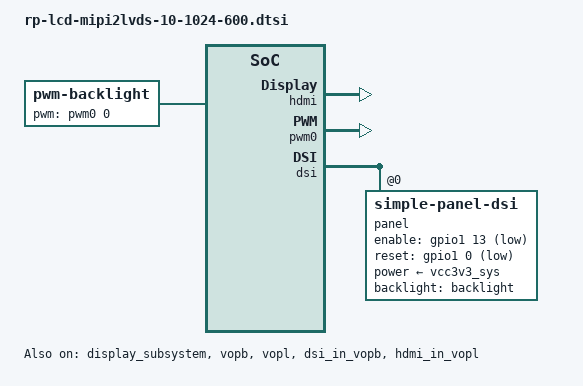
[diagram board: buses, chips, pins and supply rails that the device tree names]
/**
 * rpdzkj lcd configuration for mipi2lvds tc358775
 *
 */

/ {
	backlight: backlight {
		status = "okay";
		compatible = "pwm-backlight";
		pwms = <&pwm0 0 25000 1>;
		brightness-levels = <
			  0   1   2   3   4   5   6   7
			  8   9  10  11  12  13  14  15
			 16  17  18  19  20  21  22  23
			 24  25  26  27  28  29  30  31
			 32  33  34  35  36  37  38  39
			 40  41  42  43  44  45  46  47
			 48  49  50  51  52  53  54  55
			 56  57  58  59  60  61  62  63
			 64  65  66  67  68  69  70  71
			 72  73  74  75  76  77  78  79
			 80  81  82  83  84  85  86  87
			 88  89  90  91  92  93  94  95
			 96  97  98  99 100 101 102 103
			104 105 106 107 108 109 110 111
			112 113 114 115 116 117 118 119
			120 121 122 123 124 125 126 127
			128 129 130 131 132 133 134 135
			136 137 138 139 140 141 142 143
			144 145 146 147 148 149 150 151
			152 153 154 155 156 157 158 159
			160 161 162 163 164 165 166 167
			168 169 170 171 172 173 174 175
			176 177 178 179 180 181 182 183
			184 185 186 187 188 189 190 191
			192 193 194 195 196 197 198 199
			200 201 202 203 204 205 206 207
			208 209 210 211 212 213 214 215
			216 217 218 219 220 221 222 223
			224 225 226 227 228 229 230 231
			232 233 234 235 236 237 238 239
			240 241 242 243 244 245 246 247
			248 249 250 251 252 253 254 255>;
		default-brightness-level = <255>;
	};

        rpdzkj_config {	// linux donot use
                compatible = "rp_config";
                user_version = "rpdzkj";
                system_rotate = "0";
                back_camera_rotate = "0";
                front_camera_rotate = "0";
                lcd_density = "160";//320
                language = "zh-CN";   //zh-CN //en-US
                time_zone = "Asia/Shanghai"; //Asia/Shanghai = +8   //Europe/London  = +0
                not_navigation_bar = "false";
                not_status_bar = "false";
                //not_status_bar = "true";
                default_launcher = "true";
                //default_launcher = "false";
                has_root = "true";  //true
                //has_root = "false";  //false
                usb_not_permission = "true";  
                usb_camera_only_front = "false";
                //usb_camera_only_front = "true";
                gps_use = "false";
                gps_serial_port = "/dev/ttyS4"; //UART4
                status = "okay";
        };

};

&hdmi {
       #address-cells = <1>;
       #size-cells = <0>;
       #sound-dai-cells = <0>;
       ddc-i2c-scl-high-time-ns = <9625>;
       ddc-i2c-scl-low-time-ns = <10000>;
       status = "okay";
};


&pwm0 {
	status = "okay";
};

&display_subsystem {
        status = "okay";

        ports = <&vopb_out>, <&vopl_out>;
        logo-memory-region = <&drm_logo>;

        route {
                route_hdmi: route-hdmi {
                        status = "okay";
                        logo,uboot = "logo.bmp";
                        logo,kernel = "logo_kernel.bmp";
                        logo,mode = "fullscreen";
                        charge_logo,mode = "center";
                        connect = <&vopl_out_hdmi>;
                };

                route_dsi: route-dsi {

                        status = "okay";
                        //status = "disabled";
                        logo,uboot = "logo.bmp";
                        logo,kernel = "logo_kernel.bmp";
                        logo,mode = "center";
                        charge_logo,mode = "center";
                        connect = <&vopb_out_dsi>;
                };

                route_dsi1: route-dsi1 {
                        status = "disabled";
                        logo,uboot = "logo.bmp";
                        logo,kernel = "logo_kernel.bmp";
                        logo,mode = "fullscreen";
                        charge_logo,mode = "center";
                        connect = <&vopl_out_dsi1>;
                };

                route_edp: route-edp {
                        status = "disabled";
                        logo,uboot = "logo.bmp";
                        logo,kernel = "logo_kernel.bmp";
                        logo,mode = "fullscreen";
                        charge_logo,mode = "center";
                        connect = <&vopb_out_edp>;
                };
        };
};

&dsi {
       //compatible = "rockchip,rk3399-dsi";		//no longer need that
       //reset-gpios = <&gpio1 0 GPIO_ACTIVE_LOW>;
       status = "okay";

       panel {
               compatible = "simple-panel-dsi";
               status = "okay";
               reg = <0>;
               power-supply = <&vcc3v3_sys>;
               backlight = <&backlight>;

                enable-gpios = <&gpio1 13 GPIO_ACTIVE_LOW>;     /** note that needed status in real situation, there is low */
		reset-gpios  = <&gpio1 0 GPIO_ACTIVE_LOW>; 
               dsi,flags = <(MIPI_DSI_MODE_VIDEO | MIPI_DSI_MODE_VIDEO_BURST |
                             MIPI_DSI_MODE_LPM | MIPI_DSI_MODE_EOT_PACKET)>;
               dsi,format = <MIPI_DSI_FMT_RGB888>;
               dsi,lanes = <4>;

		panel-init-sequence = [
		
			29 00 06 3c 01 0c 00 0a 00
			29 00 06 14 01 08 00 00	00
			29 00 06 64 01 0d 00 00 00
			29 00 06 68 01 0d 00 00 00
			29 00 06 6c 01 0d 00 00 00
			29 00 06 70 01 0d 00 00 00
			29 00 06 34 01 1f 00 00 00
			29 00 06 10 02 1f 00 00 00
			29 00 06 04 01 01 00 00 00
			29 00 06 04 02 01 00 00 00
			29 00 06 50 04 00 01 f0 03
			29 00 06 54 04 14 00 a0 00
			29 00 06 58 04 00 04 a0 00
			29 00 06 5c 04 03 00 17 00
			29 00 06 60 04 58 02 0c 00
			29 00 06 64 04 01 00 00 00
			29 64 06 a0 04 06 80 44 00
			29 00 06 a0 04 06 80 04 00
			29 00 06 04 05 04 00 00 00
               	  /*	data-mapping:jeida, default vesa
		       29 00 06 80 04 00 01 02 03
                       29 00 06 84 04 04 07 05 08
                       29 00 06 88 04 09 0a 0e 0f
                       29 00 06 8c 04 0b 0c 0d 10
                       29 00 06 90 04 16 17 11 12
                       29 00 06 94 04 13 14 15 1b
                       29 14 06 98 04 18 19 1a 06
               	*/
			29 78 06 9c 04 31 00 00 00
				
			
		];

		display-timings {
			native-mode = <&timing0>;

			timing0: timing0 {
				clock-frequency = <45000000>;
				hactive = <1024>;
				vactive = <600>;
				hback-porch = <160>;
				hsync-len = <20>;
				hfront-porch = <160>;
				vback-porch = <23>;
				vfront-porch = <12>;
				vsync-len = <3>;
				hsync-active = <0>;
				vsync-active = <0>;
				de-active = <0>;
				pixelclk-active = <0>;
			};
		};
	};
};

&route_dsi {
        status = "okay";
};

&vopb {
        assigned-clocks = <&cru DCLK_VOP0_DIV>;
        assigned-clock-parents = <&cru PLL_CPLL>;
        //assigned-clock-parents = <&cru PLL_VPLL>;
        status = "okay";
};

&vopb_mmu {
        status = "okay";
};

&vopl {
        assigned-clocks = <&cru DCLK_VOP1_DIV>;
        assigned-clock-parents = <&cru PLL_VPLL>;
        //assigned-clock-parents = <&cru PLL_CPLL>;
        status = "okay";
};

&vopl_mmu {
        status = "okay";
};

&dsi_in_vopl { 
        status = "disabled"; 
}; 

&dsi_in_vopb {
	status = "okay";
}; 

&hdmi_in_vopb { 
        status = "disabled"; 
}; 
 
&hdmi_in_vopl {
	status = "okay";
};

&edp_in_vopb {
        status = "disabled";
};
&edp_in_vopl {
        status = "disabled";
};

&dsi1_in_vopl {
        status = "disabled";
};
&dsi1_in_vopb {
        status = "disabled";
}; 
